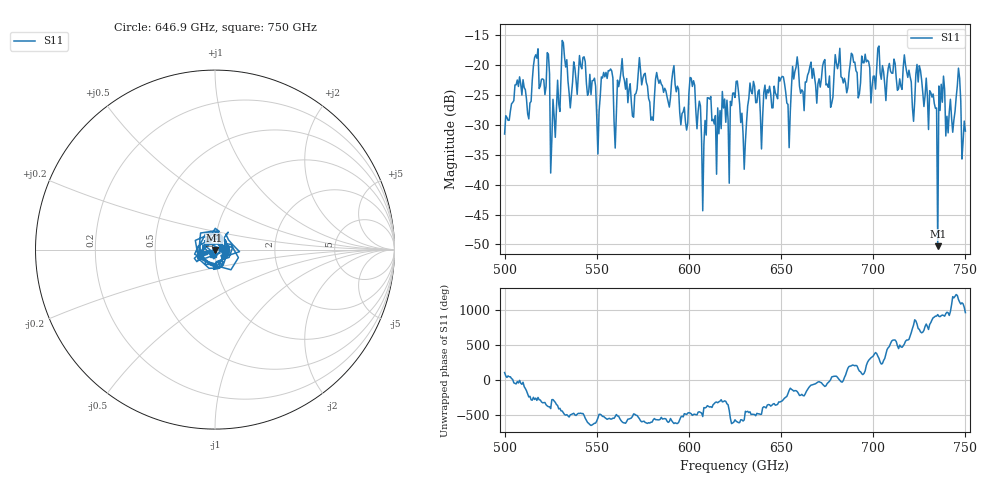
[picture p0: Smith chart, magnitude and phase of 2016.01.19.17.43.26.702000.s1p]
!Created with skrf (http://scikit-rf.org).
# GHz S RI R 50.0
!freq ReS11 ImS11
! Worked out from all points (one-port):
!   401 points, 500 GHz to 750 GHz, reference 50 ohm
!   lowest |S11| = -50.3 dB at 735 GHz (marker M1), VSWR 1.01, Z = 49.8 - j0.191 ohm
!   |S11| at or under -10 dB: start of sweep to end of sweep
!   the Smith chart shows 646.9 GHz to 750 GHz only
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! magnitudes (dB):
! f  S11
! 500 GHz  -31.6
! 506.9 GHz  -22.5
! 513.1 GHz  -29.0
! 516.9 GHz  -18.3
! 523.1 GHz  -18.0
! 526.2 GHz  -25.8
! 531.2 GHz  -15.9
! 542.5 GHz  -18.8
! 550.6 GHz  -34.9
! 560.6 GHz  -28.3
! 562.5 GHz  -22.7
! 593.8 GHz  -23.6
! 598.1 GHz  -29.6
! 601.9 GHz  -23.6
! 608.1 GHz  -33.2
! 611.2 GHz  -25.7
! 616.2 GHz  -31.5
! 625 GHz  -25.5
! 630 GHz  -37.4
! 634.4 GHz  -24.8
! 656.2 GHz  -20.3
! 687.5 GHz  -19.8
! 718.8 GHz  -22.1
! 735 GHz  -50.3
! 736.9 GHz  -23.3
! 741.9 GHz  -25.8
! 746.2 GHz  -20.6
! 750 GHz  -31.1
